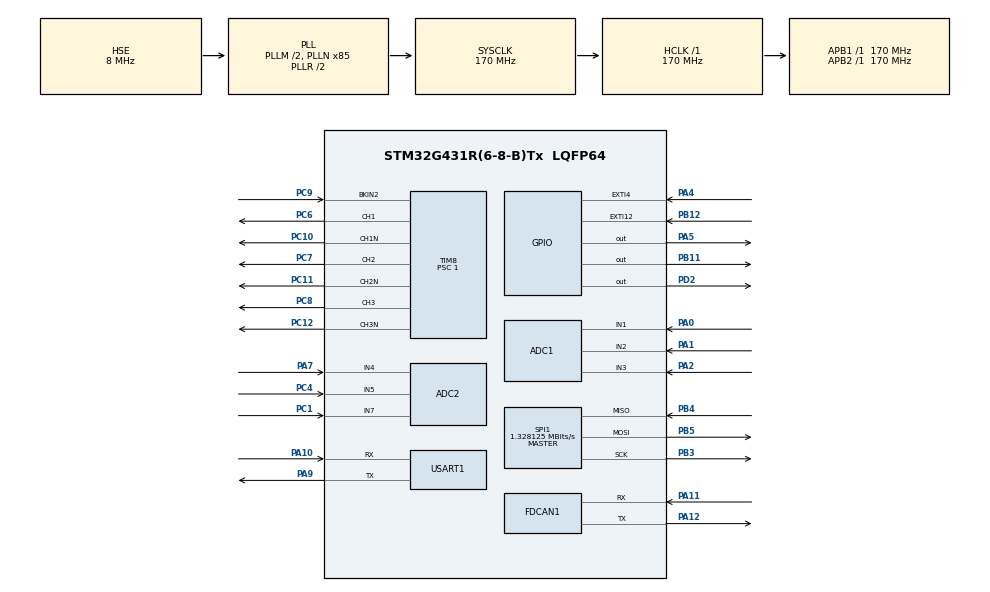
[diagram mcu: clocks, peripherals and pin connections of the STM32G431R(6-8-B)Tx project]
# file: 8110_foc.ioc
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ADC1.Channel-1\#ChannelRegularConversion=ADC_CHANNEL_3
ADC1.Channel-4\#ChannelRegularConversion=ADC_CHANNEL_2
ADC1.Channel-5\#ChannelRegularConversion=ADC_CHANNEL_1
ADC1.ClockPrescaler=ADC_CLOCK_SYNC_PCLK_DIV4
ADC1.ContinuousConvMode=ENABLE
ADC1.DMAContinuousRequests=DISABLE
ADC1.DiscontinuousConvMode=DISABLE
ADC1.EOCSelection=ADC_EOC_SEQ_CONV
ADC1.EnableAnalogWatchDog1=false
ADC1.EnableInjectedConversion=DISABLE
ADC1.ExternalTrigConv=ADC_EXTERNALTRIG_T8_TRGO2
ADC1.Mode=ADC_MODE_INDEPENDENT
ADC1.NbrOfConversion=3
ADC1.NbrOfConversionFlag=1
ADC1.OffsetNumber-1\#ChannelRegularConversion=ADC_OFFSET_NONE
ADC1.OffsetNumber-4\#ChannelRegularConversion=ADC_OFFSET_NONE
ADC1.OffsetNumber-5\#ChannelRegularConversion=ADC_OFFSET_NONE
ADC1.Rank-1\#ChannelRegularConversion=1
ADC1.Rank-4\#ChannelRegularConversion=2
ADC1.Rank-5\#ChannelRegularConversion=3
ADC1.SamplingTime-1\#ChannelRegularConversion=ADC_SAMPLETIME_47CYCLES_5
ADC1.SamplingTime-4\#ChannelRegularConversion=ADC_SAMPLETIME_47CYCLES_5
ADC1.SamplingTime-5\#ChannelRegularConversion=ADC_SAMPLETIME_47CYCLES_5
ADC1.master=1
ADC2.Channel-0\#ChannelRegularConversion=ADC_CHANNEL_7
ADC2.Channel-1\#ChannelRegularConversion=ADC_CHANNEL_4
ADC2.Channel-3\#ChannelRegularConversion=ADC_CHANNEL_5
ADC2.ContinuousConvMode=ENABLE
ADC2.DMAContinuousRequests=DISABLE
ADC2.EOCSelection=ADC_EOC_SEQ_CONV
ADC2.EnableInjectedConversion=DISABLE
ADC2.ExternalTrigConv=ADC_EXTERNALTRIG_T6_TRGO
ADC2.NbrOfConversion=3
ADC2.NbrOfConversionFlag=1
ADC2.OffsetNumber-0\#ChannelRegularConversion=ADC_OFFSET_NONE
ADC2.OffsetNumber-1\#ChannelRegularConversion=ADC_OFFSET_NONE
ADC2.OffsetNumber-3\#ChannelRegularConversion=ADC_OFFSET_NONE
ADC2.Rank-0\#ChannelRegularConversion=1
ADC2.Rank-1\#ChannelRegularConversion=2
ADC2.Rank-3\#ChannelRegularConversion=3
ADC2.SamplingTime-0\#ChannelRegularConversion=ADC_SAMPLETIME_47CYCLES_5
ADC2.SamplingTime-1\#ChannelRegularConversion=ADC_SAMPLETIME_92CYCLES_5
ADC2.SamplingTime-3\#ChannelRegularConversion=ADC_SAMPLETIME_92CYCLES_5
Dma.ADC1.1.Direction=DMA_PERIPH_TO_MEMORY
Dma.ADC1.1.EventEnable=DISABLE
Dma.ADC1.1.Instance=DMA1_Channel4
Dma.ADC1.1.MemDataAlignment=DMA_MDATAALIGN_HALFWORD
Dma.ADC1.1.MemInc=DMA_MINC_ENABLE
Dma.ADC1.1.Mode=DMA_NORMAL
Dma.ADC1.1.PeriphDataAlignment=DMA_PDATAALIGN_HALFWORD
Dma.ADC1.1.PeriphInc=DMA_PINC_DISABLE
Dma.ADC1.1.Polarity=HAL_DMAMUX_REQ_GEN_RISING
Dma.ADC1.1.Priority=DMA_PRIORITY_LOW
Dma.ADC1.1.RequestNumber=1
Dma.ADC1.1.SignalID=NONE
Dma.ADC1.1.SyncEnable=DISABLE
Dma.ADC1.1.SyncPolarity=HAL_DMAMUX_SYNC_NO_EVENT
Dma.ADC1.1.SyncRequestNumber=1
Dma.ADC1.1.SyncSignalID=NONE
Dma.ADC2.2.Direction=DMA_PERIPH_TO_MEMORY
Dma.ADC2.2.EventEnable=DISABLE
Dma.ADC2.2.Instance=DMA1_Channel5
Dma.ADC2.2.MemDataAlignment=DMA_MDATAALIGN_HALFWORD
Dma.ADC2.2.MemInc=DMA_MINC_ENABLE
Dma.ADC2.2.Mode=DMA_NORMAL
Dma.ADC2.2.PeriphDataAlignment=DMA_PDATAALIGN_HALFWORD
Dma.ADC2.2.PeriphInc=DMA_PINC_DISABLE
Dma.ADC2.2.Polarity=HAL_DMAMUX_REQ_GEN_RISING
Dma.ADC2.2.Priority=DMA_PRIORITY_LOW
Dma.ADC2.2.RequestNumber=1
Dma.ADC2.2.SignalID=NONE
Dma.ADC2.2.SyncEnable=DISABLE
Dma.ADC2.2.SyncPolarity=HAL_DMAMUX_SYNC_NO_EVENT
Dma.ADC2.2.SyncRequestNumber=1
Dma.ADC2.2.SyncSignalID=NONE
Dma.Request0=USART1_TX
Dma.Request1=ADC1
Dma.Request2=ADC2
Dma.Request3=SPI1_RX
Dma.Request4=SPI1_TX
Dma.SPI1_RX.3.Direction=DMA_PERIPH_TO_MEMORY
Dma.SPI1_RX.3.EventEnable=DISABLE
Dma.SPI1_RX.3.Instance=DMA2_Channel2
Dma.SPI1_RX.3.MemDataAlignment=DMA_MDATAALIGN_BYTE
Dma.SPI1_RX.3.MemInc=DMA_MINC_ENABLE
Dma.SPI1_RX.3.Mode=DMA_NORMAL
Dma.SPI1_RX.3.PeriphDataAlignment=DMA_PDATAALIGN_BYTE
Dma.SPI1_RX.3.PeriphInc=DMA_PINC_DISABLE
Dma.SPI1_RX.3.Polarity=HAL_DMAMUX_REQ_GEN_RISING
Dma.SPI1_RX.3.Priority=DMA_PRIORITY_LOW
Dma.SPI1_RX.3.RequestNumber=1
Dma.SPI1_RX.3.SignalID=NONE
Dma.SPI1_RX.3.SyncEnable=DISABLE
Dma.SPI1_RX.3.SyncPolarity=HAL_DMAMUX_SYNC_NO_EVENT
Dma.SPI1_RX.3.SyncRequestNumber=1
Dma.SPI1_RX.3.SyncSignalID=NONE
Dma.SPI1_TX.4.Direction=DMA_MEMORY_TO_PERIPH
Dma.SPI1_TX.4.EventEnable=DISABLE
Dma.SPI1_TX.4.Instance=DMA2_Channel3
Dma.SPI1_TX.4.MemDataAlignment=DMA_MDATAALIGN_BYTE
Dma.SPI1_TX.4.MemInc=DMA_MINC_ENABLE
Dma.SPI1_TX.4.Mode=DMA_NORMAL
Dma.SPI1_TX.4.PeriphDataAlignment=DMA_PDATAALIGN_BYTE
Dma.SPI1_TX.4.PeriphInc=DMA_PINC_DISABLE
Dma.SPI1_TX.4.Polarity=HAL_DMAMUX_REQ_GEN_RISING
Dma.SPI1_TX.4.Priority=DMA_PRIORITY_LOW
Dma.SPI1_TX.4.RequestNumber=1
Dma.SPI1_TX.4.SignalID=NONE
Dma.SPI1_TX.4.SyncEnable=DISABLE
Dma.SPI1_TX.4.SyncPolarity=HAL_DMAMUX_SYNC_NO_EVENT
Dma.SPI1_TX.4.SyncRequestNumber=1
Dma.SPI1_TX.4.SyncSignalID=NONE
Dma.USART1_TX.0.Direction=DMA_MEMORY_TO_PERIPH
Dma.USART1_TX.0.EventEnable=DISABLE
Dma.USART1_TX.0.Instance=DMA2_Channel1
Dma.USART1_TX.0.MemDataAlignment=DMA_MDATAALIGN_BYTE
Dma.USART1_TX.0.MemInc=DMA_MINC_ENABLE
Dma.USART1_TX.0.Mode=DMA_NORMAL
Dma.USART1_TX.0.PeriphDataAlignment=DMA_PDATAALIGN_BYTE
Dma.USART1_TX.0.PeriphInc=DMA_PINC_DISABLE
Dma.USART1_TX.0.Polarity=HAL_DMAMUX_REQ_GEN_RISING
Dma.USART1_TX.0.Priority=DMA_PRIORITY_LOW
Dma.USART1_TX.0.RequestNumber=1
Dma.USART1_TX.0.SignalID=NONE
Dma.USART1_TX.0.SyncEnable=DISABLE
Dma.USART1_TX.0.SyncPolarity=HAL_DMAMUX_SYNC_NO_EVENT
Dma.USART1_TX.0.SyncRequestNumber=1
Dma.USART1_TX.0.SyncSignalID=NONE
FDCAN1.CalculateBaudRateNominal=499999
FDCAN1.CalculateTimeBitNominal=2000
FDCAN1.CalculateTimeQuantumNominal=58.82352941176471
FDCAN1.ClockDivider=FDCAN_CLOCK_DIV2
FDCAN1.FrameFormat=FDCAN_FRAME_CLASSIC
FDCAN1.Mode=FDCAN_MODE_INTERNAL_LOOPBACK
FDCAN1.NominalPrescaler=5
FDCAN1.NominalTimeSeg1=27
FDCAN1.NominalTimeSeg2=6
FDCAN1.ProtocolException=DISABLE
FDCAN1.StdFiltersNbr=1
FDCAN1.TransmitPause=DISABLE
Mcu.Family=STM32G4
Mcu.Name=STM32G431R(6-8-B)Tx
Mcu.Package=LQFP64
Mcu.UserConstants=M_PWM_FREQ,PWM_FREQ
NVIC.ADC1_2_IRQn=true\:2\:0\:true\:false\:true\:true\:true\:true
NVIC.DMA1_Channel4_IRQn=true\:2\:0\:true\:false\:true\:false\:true\:true
NVIC.DMA1_Channel5_IRQn=true\:4\:0\:true\:false\:true\:false\:true\:true
NVIC.DMA2_Channel1_IRQn=true\:5\:0\:true\:false\:true\:false\:true\:true
NVIC.DMA2_Channel2_IRQn=true\:1\:0\:true\:false\:true\:false\:true\:true
NVIC.DMA2_Channel3_IRQn=true\:1\:0\:true\:false\:true\:false\:true\:true
NVIC.EXTI15_10_IRQn=true\:5\:0\:true\:false\:true\:true\:true\:true
NVIC.EXTI4_IRQn=true\:5\:0\:true\:false\:true\:true\:true\:true
NVIC.FDCAN1_IT0_IRQn=true\:4\:0\:true\:false\:true\:true\:true\:true
NVIC.PriorityGroup=NVIC_PRIORITYGROUP_4
NVIC.SPI1_IRQn=true\:1\:0\:true\:false\:true\:true\:true\:true
NVIC.TIM4_IRQn=true\:6\:0\:true\:false\:true\:true\:true\:true
NVIC.TIM7_IRQn=true\:4\:0\:true\:false\:true\:true\:true\:true
NVIC.TIM8_UP_IRQn=true\:0\:0\:true\:false\:true\:true\:true\:true
NVIC.USART1_IRQn=true\:4\:0\:true\:false\:true\:true\:true\:true
PA0.Mode=IN1-Single-Ended
PA0.Signal=ADC1_IN1
PA1.Mode=IN2-Single-Ended
PA1.Signal=ADC1_IN2
PA10.Mode=Asynchronous
PA10.Signal=USART1_RX
PA11.GPIO_PuPd=GPIO_PULLUP
PA11.GPIO_Speed=GPIO_SPEED_FREQ_MEDIUM
PA11.Mode=FDCAN_Activate
PA11.Signal=FDCAN1_RX
PA12.GPIO_Speed=GPIO_SPEED_FREQ_MEDIUM
PA12.Mode=FDCAN_Activate
PA12.Signal=FDCAN1_TX
PA13.Mode=Serial_Wire
PA13.Signal=SYS_JTMS-SWDIO
PA14.Mode=Serial_Wire
PA14.Signal=SYS_JTCK-SWCLK
PA2.Mode=IN3-Single-Ended
PA2.Signal=ADC1_IN3
PA4.GPIO_ModeDefaultEXTI=GPIO_MODE_IT_FALLING
PA4.Signal=GPXTI4
PA5.Signal=GPIO_Output
PA7.Mode=IN4-Single-Ended
PA7.Signal=ADC2_IN4
PA9.Mode=Asynchronous
PA9.Signal=USART1_TX
PB11.Signal=GPIO_Output
PB12.GPIO_ModeDefaultEXTI=GPIO_MODE_IT_FALLING
PB12.Signal=GPXTI12
PB3.GPIO_Speed=GPIO_SPEED_FREQ_MEDIUM
PB3.Mode=Full_Duplex_Master
PB3.Signal=SPI1_SCK
PB4.GPIO_Speed=GPIO_SPEED_FREQ_MEDIUM
PB4.Mode=Full_Duplex_Master
PB4.Signal=SPI1_MISO
PB5.GPIO_Speed=GPIO_SPEED_FREQ_MEDIUM
PB5.Mode=Full_Duplex_Master
PB5.Signal=SPI1_MOSI
PC1.Mode=IN7-Single-Ended
PC1.Signal=ADC2_IN7
PC10.Mode=PWM Generation1 CH1 CH1N
PC10.Signal=TIM8_CH1N
PC11.Mode=PWM Generation2 CH2 CH2N
PC11.Signal=TIM8_CH2N
PC12.Mode=PWM Generation3 CH3 CH3N
PC12.Signal=TIM8_CH3N
PC4.Mode=IN5-Single-Ended
PC4.Signal=ADC2_IN5
PC6.Signal=S_TIM8_CH1
PC7.Signal=S_TIM8_CH2
PC8.Signal=S_TIM8_CH3
PC9.Mode=Activate-Break-Input-2
PC9.Signal=TIM8_BKIN2
PD2.GPIO_PuPd=GPIO_PULLUP
PD2.GPIO_Speed=GPIO_SPEED_FREQ_MEDIUM
PD2.PinState=GPIO_PIN_SET
PD2.Signal=GPIO_Output
PF0-OSC_IN.Mode=HSE-External-Oscillator
PF0-OSC_IN.Signal=RCC_OSC_IN
PF1-OSC_OUT.Mode=HSE-External-Oscillator
PF1-OSC_OUT.Signal=RCC_OSC_OUT
ProjectManager.HeapSize=0x200
ProjectManager.StackSize=0x400
ProjectManager.TargetToolchain=MDK-ARM V5.27
RCC.ADC12Freq_Value=170000000
RCC.AHBFreq_Value=170000000
RCC.APB1Freq_Value=170000000
RCC.APB1TimFreq_Value=170000000
RCC.APB2Freq_Value=170000000
RCC.APB2TimFreq_Value=170000000
RCC.CortexFreq_Value=170000000
RCC.EXTERNAL_CLOCK_VALUE=12288000
RCC.EnbaleCSS=true
RCC.HCLKFreq_Value=170000000
RCC.HSE_VALUE=8000000
RCC.HSI48_VALUE=48000000
RCC.HSI_VALUE=16000000
RCC.LSE_VALUE=32768
RCC.PLLM=RCC_PLLM_DIV2
RCC.PLLN=85
RCC.PLLSourceVirtual=RCC_PLLSOURCE_HSE
RCC.SYSCLKFreq_VALUE=170000000
RCC.SYSCLKSource=RCC_SYSCLKSOURCE_PLLCLK
RCC.USBFreq_Value=170000000
RCC.VCOOutputFreq_Value=340000000
SH.S_TIM8_CH1.0=TIM8_CH1,PWM Generation1 CH1 CH1N
SH.S_TIM8_CH2.0=TIM8_CH2,PWM Generation2 CH2 CH2N
SH.S_TIM8_CH3.0=TIM8_CH3,PWM Generation3 CH3 CH3N
SPI1.BaudRatePrescaler=SPI_BAUDRATEPRESCALER_128
SPI1.CLKPhase=SPI_PHASE_2EDGE
SPI1.CLKPolarity=SPI_POLARITY_HIGH
SPI1.CalculateBaudRate=1.328125 MBits/s
SPI1.DataSize=SPI_DATASIZE_8BIT
SPI1.Direction=SPI_DIRECTION_2LINES
SPI1.Mode=SPI_MODE_MASTER
SPI1.VirtualType=VM_MASTER
STMicroelectronics.X-CUBE-ALGOBUILD.1.4.0.LibraryCcDSPOoLibraryJjDSPOoLibrary=true
TIM4.AutoReloadPreload=TIM_AUTORELOAD_PRELOAD_ENABLE
TIM4.PeriodNoDither=9999
TIM4.Prescaler=169
TIM6.AutoReloadPreload=TIM_AUTORELOAD_PRELOAD_ENABLE
TIM6.PeriodNoDither=9999
TIM6.Prescaler=169
TIM6.TIM_MasterOutputTrigger=TIM_TRGO_UPDATE
TIM7.PeriodNoDither=1000000/SPEED_CALCU_FREQ-1
TIM7.Prescaler=169
TIM8.AutoReloadPreload=TIM_AUTORELOAD_PRELOAD_ENABLE
TIM8.Break2Polarity=TIM_BREAK2POLARITY_LOW
TIM8.Break2State=TIM_BREAK2_DISABLE
TIM8.BreakPolarity=TIM_BREAKPOLARITY_LOW
TIM8.BreakState=TIM_BREAK_DISABLE
TIM8.Channel-PWM\ Generation1\ CH1\ CH1N=TIM_CHANNEL_1
TIM8.Channel-PWM\ Generation2\ CH2\ CH2N=TIM_CHANNEL_2
TIM8.Channel-PWM\ Generation3\ CH3\ CH3N=TIM_CHANNEL_3
TIM8.ClockDivision=TIM_CLOCKDIVISION_DIV1
TIM8.CounterMode=TIM_COUNTERMODE_CENTERALIGNED1
TIM8.DeadTime=16
TIM8.DeadTimePreload=ENABLE
TIM8.OCNIdleState_1=TIM_OCNIDLESTATE_RESET
TIM8.OCNIdleState_2=TIM_OCNIDLESTATE_RESET
TIM8.OCNIdleState_3=TIM_OCNIDLESTATE_RESET
TIM8.OCNPolarity_1=TIM_OCNPOLARITY_HIGH
TIM8.OCNPolarity_2=TIM_OCNPOLARITY_HIGH
TIM8.OCNPolarity_3=TIM_OCNPOLARITY_HIGH
TIM8.PeriodNoDither=170000000/2/2/M_PWM_FREQ-1
TIM8.Prescaler=1
TIM8.PulseNoDither_1=0
TIM8.PulseNoDither_2=0
TIM8.PulseNoDither_3=0
TIM8.TIM_MasterOutputTrigger=TIM_TRGO_RESET
TIM8.TIM_MasterOutputTrigger2=TIM_TRGO2_UPDATE
USART1.VirtualMode-Asynchronous=VM_ASYNC
VP_STMicroelectronics.X-CUBE-ALGOBUILD_VS_DSPOoLibraryJjLibrary_1.4.0_1.4.0.Mode=DSPOoLibraryJjLibrary
VP_SYS_VS_DBSignals.Mode=DisableDeadBatterySignals
VP_TIM4_VS_ClockSourceINT.Mode=Internal
VP_TIM6_VS_ClockSourceINT.Mode=Enable_Timer
VP_TIM7_VS_ClockSourceINT.Mode=Enable_Timer
VP_TIM8_VS_ClockSourceINT.Mode=Internal
board=custom

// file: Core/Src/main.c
/* USER CODE BEGIN Header */
/**
  ******************************************************************************
  * @file           : main.c
  * @brief          : Main program body
  ******************************************************************************
  * @attention
  *
  * Copyright (c) 2026 STMicroelectronics.
  * All rights reserved.
  *
  * This software is licensed under terms that can be found in the LICENSE file
  * in the root directory of this software component.
  * If no LICENSE file comes with this software, it is provided AS-IS.
  *
  ******************************************************************************
  */
/* USER CODE END Header */
#include "main.h"
#include "adc.h"
#include "dma.h"
#include "fdcan.h"
#include "spi.h"
#include "tim.h"
#include "usart.h"
#include "gpio.h"

/* USER CODE BEGIN Includes */
#include <stdio.h>
#include "foc.h"
#include "open_serial_debugger.h"
#include "kalman_filter.h"
/* USER CODE END Includes */

void SystemClock_Config(void);

int main(void)
{

  /* MCU Configuration--------------------------------------------------------*/

  /* Reset of all peripherals, Initializes the Flash interface and the Systick. */
  HAL_Init();

  /* Configure the system clock */
  SystemClock_Config();

  /* Initialize all configured peripherals */
  MX_GPIO_Init();
  MX_DMA_Init();
  MX_USART1_UART_Init();
  MX_FDCAN1_Init();
  MX_SPI1_Init();
  MX_ADC1_Init();
  MX_ADC2_Init();
  MX_TIM8_Init();
  MX_TIM4_Init();
  MX_TIM6_Init();
  MX_TIM7_Init();
  /* USER CODE BEGIN 2 */

  // 上电led闪两下
  Leds_Blink();

  // CAN配置、使能
  my_FDCAN1_init();

  // 启动PWM输出
  PWM_Start();
  HAL_Delay(1);

  // 测试pwm输出是否正常，uvw相接口输出是否正常
  //set_pwm_duty(0.2, 0.2, 0.2, 0.9);

  // 转子电气零点校准
  set_rotor_zero_angle();

  // 开启adc采集温度、电位器电压的触发定时器
  HAL_TIM_Base_Start_IT(&htim6);

  // ADC校准
  HAL_ADCEx_Calibration_Start(&hadc1, 0);
  HAL_ADCEx_Calibration_Start(&hadc2, 0);
  // 启动ADC1+DMA：三相电流采样
  HAL_ADC_Start_DMA(&hadc1, (uint32_t*)adc1_buf, ADC1_CH_NUM);
  // 启动ADC2+DMA：温度+电位器采样
  HAL_ADC_Start_DMA(&hadc2, (uint32_t*)adc2_buf, ADC2_CH_NUM);

  // 开启速度计算定时器
  HAL_TIM_Base_Start_IT(&htim7);

  // 卡尔曼滤波初始化
  kalman_filter_init(&motor_speed_kalman_filter, KF_R, KF_Q);

  #ifdef MODULE_OPEN_SERIAL_DEBUGGER_EN
    // 使用open_serial_debugger/vofa上位机
    open_serial_debugger_init(&huart1);
  #endif

  uint32_t last_print_time = 0;

  // 使用vofa justFloat格式
  float data_print[8] = {0};
  uint8_t tail[4] = {0x00, 0x00, 0x80, 0x7f};  // 帧尾

  // 积分项累积值显式清零
  pid_i_reset();

  // // 全部调试好后使用
  // set_motor_pid_single(&pid_position, POSITION_MODE_POS_P, POSITION_MODE_POS_I, POSITION_MODE_POS_D);
  // set_motor_pid_single(&pid_speed, SPEED_MODE_SPEED_P, SPEED_MODE_SPEED_I, SPEED_MODE_SPEED_D);
  // set_motor_pid_single(&pid_torque_q, TORQUE_MODE_Q_P, TORQUE_MODE_Q_I, TORQUE_MODE_Q_D);
  // set_motor_pid_single(&pid_position_PS_Ctrl, POS_SPD_MODE_POS_P, POS_SPD_MODE_POS_I, POS_SPD_MODE_POS_D);
  // set_motor_pid_single(&pid_speed_PS_Ctrl, POS_SPD_MODE_SPEED_P, POS_SPD_MODE_SPEED_I, POS_SPD_MODE_SPEED_D);
  // set_motor_pid_single(&pid_position_PT_Ctrl, POS_TOR_MODE_POS_P, POS_TOR_MODE_POS_I, POS_TOR_MODE_POS_D);
  // set_motor_pid_single(&pid_torque_q_PT_Ctrl, POS_TOR_MODE_Q_P, POS_TOR_MODE_Q_I, POS_TOR_MODE_Q_D);
  // set_motor_pid_single(&pid_speed_ST_Ctrl, SPD_TOR_MODE_SPD_P, SPD_TOR_MODE_SPD_I, SPD_TOR_MODE_SPD_D);
  // set_motor_pid_single(&pid_torque_q_ST_Ctrl, SPD_TOR_MODE_Q_P, SPD_TOR_MODE_Q_I, SPD_TOR_MODE_Q_D);
  // set_motor_pid_single(&pid_position_PST_Ctrl, POS_SPD_TOR_MODE_POS_P, POS_SPD_TOR_MODE_POS_I, POS_SPD_TOR_MODE_POS_D);
  // set_motor_pid_single(&pid_speed_PST_Ctrl, POS_SPD_TOR_MODE_SPD_P, POS_SPD_TOR_MODE_SPD_I, POS_SPD_TOR_MODE_SPD_D);
  // set_motor_pid_single(&pid_torque_q_PST_Ctrl, POS_SPD_TOR_MODE_Q_P, POS_SPD_TOR_MODE_Q_I, POS_SPD_TOR_MODE_Q_D);

  // 测试can
  //uint8_t send_data[8] = {0x01,0x02,0x03,0x04,0x05,0x06,0x07,0x08}; // 待发送数据

  // 测试电流采样是否正常
  // set_pwm_duty(0.2, 0, 0, 0.9);
  // HAL_Delay(500);
  // printf("%f,%f,%f\n", motor_i_u, motor_i_v, motor_i_w);
  // set_pwm_duty(0, 0.2, 0, 0.9);
  // HAL_Delay(500);
  // printf("%f,%f,%f\n", motor_i_u, motor_i_v, motor_i_w);
  // set_pwm_duty(0, 0, 0.2, 0.9);
  // HAL_Delay(500);
  // printf("%f,%f,%f\n", motor_i_u, motor_i_v, motor_i_w);
  // set_pwm_duty(0, 0, 0, 0.9);

  // 位置环测试
  // motor_control_context.position = deg2rad(3600);
  // motor_control_context.type = control_type_position;
  // // 速度环测试
  // motor_control_context.speed = deg2rad(120);
  // motor_control_context.type = control_type_speed;

  /* USER CODE END 2 */

  /* Infinite loop */
  /* USER CODE BEGIN WHILE */
  while (1)
  {

    #ifdef MODULE_OPEN_SERIAL_DEBUGGER_EN
      if (Serial_available() >= PACKET_LEN)
      {
        uint8_t packet[PACKET_LEN];
        Serial_readBytes(packet, PACKET_LEN);
        handle_packet(packet);
      }
    #endif

    // 按键
    Keys_Process();

    // 测试打印、磁编码
    if (HAL_GetTick() - last_print_time > 2)  //数字是多少就多少ms打印一次
    {
      // can测试
      // my_FDCAN1_Transmit(send_data);
      // send_data[0]++;

      // 磁编码mt6816测试
      //MT6816_Start_DMA_Read();
      //printf("encoder_angle = %.4f   cumulative_encoder_angle = %.4f\r\n", encoder_angle, cumulative_encoder_angle);

      // adc测试
      //printf("potentiometer = %.2f   temperature1 = %.1f   temperature2 = %.1f\r\n", potentiometer, temperature1, temperature2);
      //printf("motor_i_u motor_i_v motor_i_bus: %.2f, %.2f, %.2f\r\n", motor_i_u, motor_i_v, motor_i_bus);

      // vofa fireWater格式 显示曲线
      //printf("set_pos  real_pos: %.1f, %.1f\r\n", rad2deg(motor_control_context.position), rad2deg(motor2load(cumulative_encoder_angle)));
      //printf("set_speed  real_speed: %.1f, %.1f\r\n", rad2deg(motor_control_context.speed), rad2deg(motor2load(motor_speed)));

      // 使用vofa justFloat格式，打印曲线更稳定
      // 分别为 设定位置 实际位置 设定速度 实际速度 设定q轴电流 实际q轴电流 温度
      data_print[0] = rad2deg(motor_control_context.position);
      data_print[1] = rad2deg(motor2load(cumulative_encoder_angle));
      data_print[2] = rad2deg(motor_control_context.speed);
      data_print[3] = rad2deg(motor2load(motor_speed));
      data_print[4] = motor_control_context.current_q;
      data_print[5] = motor_i_q;
      // data_print[7] = motor_i_u;
      // data_print[8] = motor_i_v;
      data_print[6] = temperature_final;
      data_print[7] = -rad2deg(motor_control_context.speed);
      Serial_write_DMA(&huart1, (uint8_t*)data_print, sizeof(float) * 8);
      Serial_write_DMA(&huart1, tail, 4);

      last_print_time = HAL_GetTick();
    }

    // // can回环测试
    // if(fdcan1_RXFlag == 1)
    // {
    //   fdcan1_RXFlag = 0;
    //   char fdcan_print_buf[64]; // 用于拼接FDCAN接收数据，足够容纳8个0xXX + 空格
    //   int idx = 0;
    //   // 循环拼接字符串到临时缓冲区，不操作DMA打印缓冲区
    //   for(int i = 0; i < 8; i++)
    //   {
    //     idx += sprintf(&fdcan_print_buf[idx], "0x%02X ", fdcan1RxData[i]);
    //   }
    //   // 整行一次性printf，仅一次写入DMA缓冲区，一次发送
    //   printf("%s\r\n", fdcan_print_buf);
    // }

    // 开环测试，看是否转动
    // for (uint16_t i = 0; i < 360; i += 20)
    // {
    //   HAL_Delay(10);
    //   foc_forward(0, 8, deg2rad(i));
    //   //printf("encoder_angle: %.1f   motor_speed: %.1f \r\n", encoder_angle, motor_speed);
    // }

    /* USER CODE END WHILE */

  }
}

void SystemClock_Config(void)
{
  RCC_OscInitTypeDef RCC_OscInitStruct = {0};
  RCC_ClkInitTypeDef RCC_ClkInitStruct = {0};

  /** Configure the main internal regulator output voltage
  */
  HAL_PWREx_ControlVoltageScaling(PWR_REGULATOR_VOLTAGE_SCALE1_BOOST);

  /** Initializes the RCC Oscillators according to the specified parameters
  * in the RCC_OscInitTypeDef structure.
  */
  RCC_OscInitStruct.OscillatorType = RCC_OSCILLATORTYPE_HSE;
  RCC_OscInitStruct.HSEState = RCC_HSE_ON;
  RCC_OscInitStruct.PLL.PLLState = RCC_PLL_ON;
  RCC_OscInitStruct.PLL.PLLSource = RCC_PLLSOURCE_HSE;
  RCC_OscInitStruct.PLL.PLLM = RCC_PLLM_DIV2;
  RCC_OscInitStruct.PLL.PLLN = 85;
  RCC_OscInitStruct.PLL.PLLP = RCC_PLLP_DIV2;
  RCC_OscInitStruct.PLL.PLLQ = RCC_PLLQ_DIV2;
  RCC_OscInitStruct.PLL.PLLR = RCC_PLLR_DIV2;
  if (HAL_RCC_OscConfig(&RCC_OscInitStruct) != HAL_OK)
  {
    Error_Handler();
  }

  /** Initializes the CPU, AHB and APB buses clocks
  */
  RCC_ClkInitStruct.ClockType = RCC_CLOCKTYPE_HCLK|RCC_CLOCKTYPE_SYSCLK
                              |RCC_CLOCKTYPE_PCLK1|RCC_CLOCKTYPE_PCLK2;
  RCC_ClkInitStruct.SYSCLKSource = RCC_SYSCLKSOURCE_PLLCLK;
  RCC_ClkInitStruct.AHBCLKDivider = RCC_SYSCLK_DIV1;
  RCC_ClkInitStruct.APB1CLKDivider = RCC_HCLK_DIV1;
  RCC_ClkInitStruct.APB2CLKDivider = RCC_HCLK_DIV1;

  if (HAL_RCC_ClockConfig(&RCC_ClkInitStruct, FLASH_LATENCY_4) != HAL_OK)
  {
    Error_Handler();
  }

  /** Enables the Clock Security System
  */
  HAL_RCC_EnableCSS();
}

void Error_Handler(void)
{
  __disable_irq();
  while (1)
  {
  }
}
